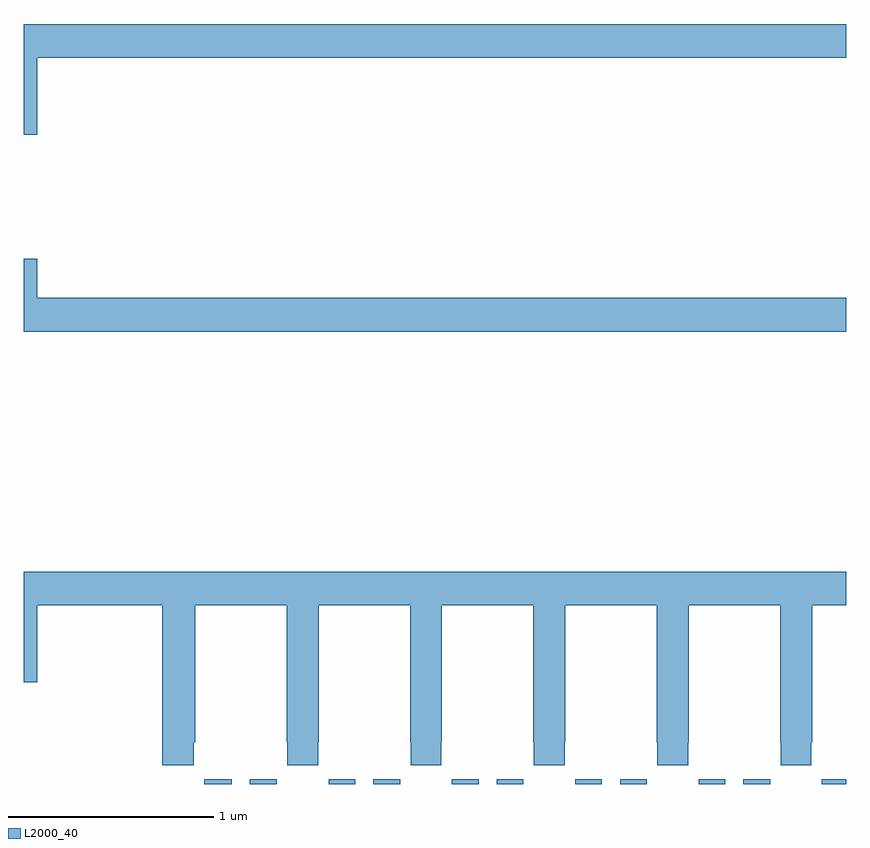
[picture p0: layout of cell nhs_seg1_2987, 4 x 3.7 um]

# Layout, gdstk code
import gdstk
lib = gdstk.Library(unit=1e-6, precision=1e-09)
def R(c, l, rs):  # rectangles x0, y0, x1, y1
    for r in rs: c.add(gdstk.rectangle(r[:2], r[2:], *l))
def P(c, l, *ps):  # polygons
    for p in ps: c.add(gdstk.Polygon(p, *l))
L2000_40 = (2000, 40)

nhs_seg1_2987 = lib.new_cell('nhs_seg1_2987')
R(nhs_seg1_2987, L2000_40, [(273.878,548.199,274.012,548.221), (274.1,548.199,274.23,548.221), (274.482,548.199,274.612,548.221), (274.7,548.199,274.83,548.221), (275.082,548.199,275.212,548.221), (275.3,548.199,275.43,548.221), (275.682,548.199,275.812,548.221), (275.9,548.199,276.03,548.221), (276.282,548.199,276.412,548.221), (276.5,548.199,276.63,548.221), (276.882,548.199,277,548.221)])
P(nhs_seg1_2987, L2000_40, [(273.064,551.732),(277,551.732),(277,551.896),(273,551.896),(273,551.358),(273.064,551.358)],
  [(277,550.564),(273.064,550.564),(273.064,550.753),(273,550.753),(273,550.4),(277,550.4)],
  [(273,548.694),(273.064,548.694),(273.064,549.068),(273.674,549.068),(273.674,548.289),(273.827,548.289),(273.827,548.401),(273.834,548.401),(273.834,549.068),(274.279,549.068),(274.279,548.401),(274.281,548.401),(274.281,548.289),(274.431,548.289),(274.431,548.401),(274.434,548.401),(274.434,549.068),(274.879,549.068),(274.879,548.401),(274.881,548.401),(274.881,548.289),(275.031,548.289),(275.031,548.401),(275.034,548.401),(275.034,549.068),(275.479,549.068),(275.479,548.401),(275.481,548.401),(275.481,548.289),(275.631,548.289),(275.631,548.401),(275.634,548.401),(275.634,549.068),(276.079,549.068),(276.079,548.401),(276.081,548.401),(276.081,548.289),(276.231,548.289),(276.231,548.401),(276.234,548.401),(276.234,549.068),(276.679,549.068),(276.679,548.401),(276.681,548.401),(276.681,548.289),(276.831,548.289),(276.831,548.401),(276.834,548.401),(276.834,549.068),(277,549.068),(277,549.232),(273,549.232)])

lib.write_gds('nhs_seg1_2987.gds')
